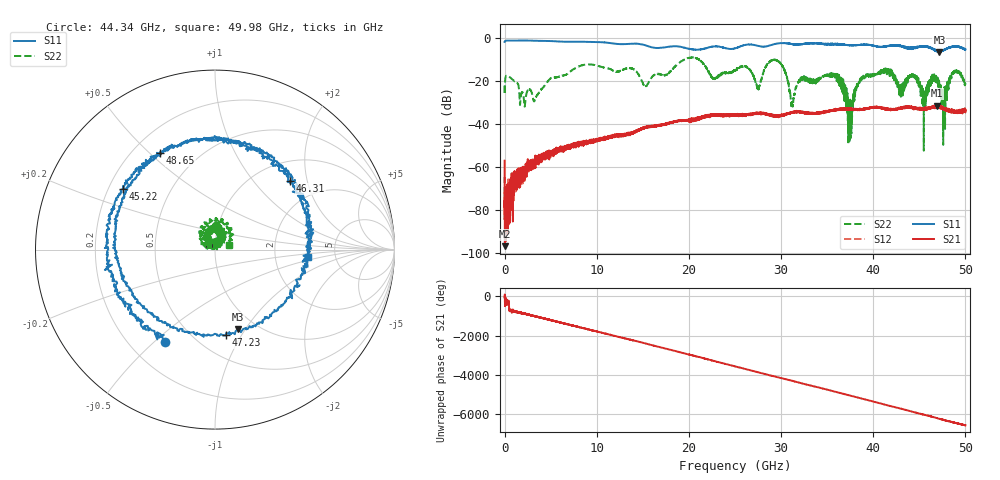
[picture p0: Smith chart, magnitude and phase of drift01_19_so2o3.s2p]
!Created with skrf (http://scikit-rf.org).
# Hz S RI R 50.0
!freq ReS11 ImS11 ReS21 ImS21 ReS12 ImS12 ReS22 ImS22
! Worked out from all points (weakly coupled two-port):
!   10001 points, 300 kHz to 50 GHz, reference 50 ohm
!   highest |S21| = -31.48 dB at 46.88 GHz (marker M1); lowest = -96.6 dB at 30.3 MHz (marker M2)
!   lowest |S11| = -6.7 dB at 47.18 GHz (marker M3), VSWR 2.71, Z = 41 - j46.2 ohm
!   |S11| at or under -10 dB: nowhere
!   |S22| runs from -52.4 to -9.2 dB; largest |S21 - S12| = 0.0036
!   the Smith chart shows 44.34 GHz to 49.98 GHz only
!   S11 on the Smith chart (normalised r, x): 44.34 GHz: 0.35, -0.54; 45.22 GHz: 0.26, +0.28; 46.31 GHz: 1.40, +1.58; 47.23 GHz: 0.69, -0.86; 48.65 GHz: 0.31, +0.54; 49.98 GHz: 3.11, -0.37
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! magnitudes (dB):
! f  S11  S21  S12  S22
! 300 kHz  -2.1  -57.0  -64.4  -22.3
! 30.3 MHz  -1.8  -96.6  -82.9  -22.3
! 3.29 GHz  -1.5  -57.4  -57.1  -28.9
! 8.335 GHz  -2.0  -50.0  -49.8  -12.9
! 16.67 GHz  -4.8  -41.0  -40.7  -16.7
! 25 GHz  -5.0  -35.9  -36.1  -15.3
! 29.59 GHz  -2.8  -36.5  -36.4  -10.6
! 31.23 GHz  -3.1  -34.6  -34.7  -31.0
! 33.34 GHz  -2.6  -35.2  -35.3  -20.0
! 36.21 GHz  -3.0  -33.5  -33.3  -20.8
! 37.47 GHz  -3.6  -33.3  -33.1  -40.1
! 38.65 GHz  -3.4  -33.2  -33.3  -20.2
! 41.67 GHz  -3.9  -33.4  -33.4  -15.2
! 44.34 GHz  -4.7  -32.3  -32.6  -17.4
! 45.22 GHz  -4.2  -33.3  -33.1  -22.5
! 46.31 GHz  -4.9  -32.4  -32.4  -19.0
! 46.88 GHz  -6.3  -31.5  -32.3  -20.6
! 47.18 GHz  -6.7  -32.4  -32.2  -21.6
! 47.23 GHz  -6.4  -32.4  -31.9  -26.2
! 48.65 GHz  -4.2  -34.0  -34.5  -17.2
! 49.98 GHz  -5.7  -33.5  -33.6  -21.7
! 50 GHz  -5.5  -34.1  -33.5  -22.0
